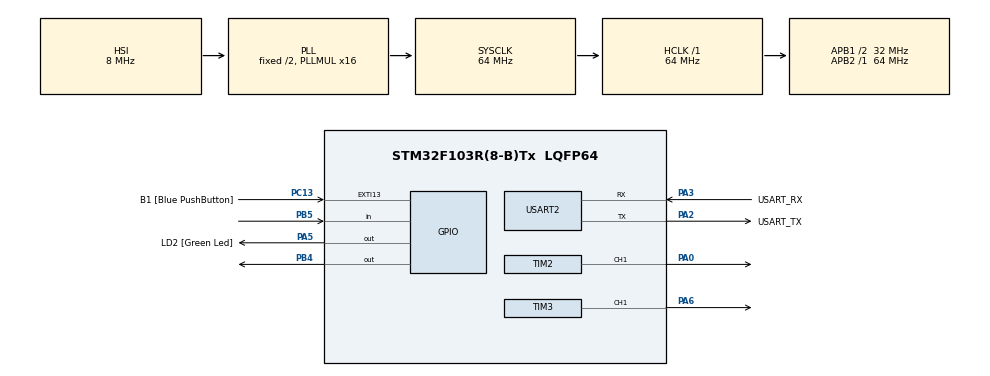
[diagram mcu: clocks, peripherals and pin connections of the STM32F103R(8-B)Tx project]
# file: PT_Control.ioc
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Mcu.Family=STM32F1
Mcu.Name=STM32F103R(8-B)Tx
Mcu.Package=LQFP64
NVIC.EXTI15_10_IRQn=true\:0\:0\:false\:false\:true\:true\:true\:true
NVIC.PriorityGroup=NVIC_PRIORITYGROUP_4
PA0-WKUP.Signal=S_TIM2_CH1_ETR
PA13.GPIO_Label=TMS
PA13.Mode=Serial_Wire
PA13.Signal=SYS_JTMS-SWDIO
PA14.GPIO_Label=TCK
PA14.Mode=Serial_Wire
PA14.Signal=SYS_JTCK-SWCLK
PA2.GPIO_Label=USART_TX
PA2.GPIO_Mode=GPIO_MODE_AF_PP
PA2.GPIO_PuPd=GPIO_NOPULL
PA2.GPIO_Speed=GPIO_SPEED_FREQ_LOW
PA2.Mode=Asynchronous
PA2.Signal=USART2_TX
PA3.GPIO_Label=USART_RX
PA3.GPIO_Mode=GPIO_MODE_AF_PP
PA3.GPIO_PuPd=GPIO_NOPULL
PA3.GPIO_Speed=GPIO_SPEED_FREQ_LOW
PA3.Mode=Asynchronous
PA3.Signal=USART2_RX
PA5.GPIO_Label=LD2 [Green Led]
PA5.GPIO_ModeDefaultOutputPP=GPIO_MODE_OUTPUT_PP
PA5.GPIO_PuPd=GPIO_NOPULL
PA5.GPIO_Speed=GPIO_SPEED_FREQ_LOW
PA5.Signal=GPIO_Output
PA6.Signal=S_TIM3_CH1
PB3.GPIO_Label=SWO
PB3.Signal=SYS_JTDO-TRACESWO
PB4.Signal=GPIO_Output
PB5.Signal=GPIO_Input
PC13-TAMPER-RTC.GPIO_Label=B1 [Blue PushButton]
PC13-TAMPER-RTC.GPIO_PuPd=GPIO_NOPULL
PC13-TAMPER-RTC.Signal=GPXTI13
PC14-OSC32_IN.Signal=RCC_OSC32_IN
PC15-OSC32_OUT.Signal=RCC_OSC32_OUT
PD0-OSC_IN.Signal=RCC_OSC_IN
PD1-OSC_OUT.Signal=RCC_OSC_OUT
ProjectManager.HeapSize=0x200
ProjectManager.StackSize=0x400
ProjectManager.TargetToolchain=STM32CubeIDE
RCC.AHBFreq_Value=64000000
RCC.APB1CLKDivider=RCC_HCLK_DIV2
RCC.APB1Freq_Value=32000000
RCC.APB1TimFreq_Value=64000000
RCC.APB2Freq_Value=64000000
RCC.APB2TimFreq_Value=64000000
RCC.HCLKFreq_Value=64000000
RCC.PLLMUL=RCC_PLL_MUL16
RCC.RTCClockSelection=RCC_RTCCLKSOURCE_LSE
RCC.SYSCLKFreq_VALUE=64000000
RCC.SYSCLKSource=RCC_SYSCLKSOURCE_PLLCLK
RCC.USBFreq_Value=64000000
SH.S_TIM2_CH1_ETR.0=TIM2_CH1,PWM Generation1 CH1
SH.S_TIM3_CH1.0=TIM3_CH1,PWM Generation1 CH1
TIM2.Channel-PWM\ Generation1\ CH1=TIM_CHANNEL_1
TIM2.Period=1000-1
TIM2.Prescaler=1280-1
TIM3.Channel-PWM\ Generation1\ CH1=TIM_CHANNEL_1
TIM3.Period=1000-1
TIM3.Prescaler=1280-1
USART2.VirtualMode=VM_ASYNC
VP_TIM2_VS_ClockSourceINT.Mode=Internal
VP_TIM3_VS_ClockSourceINT.Mode=Internal
board=NUCLEO-F103RB

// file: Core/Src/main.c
/* USER CODE BEGIN Header */
/**
  ******************************************************************************
  * @file           : main.c
  * @brief          : Main program body
  ******************************************************************************
  * @attention
  *
  * Copyright (c) 2026 STMicroelectronics.
  * All rights reserved.
  *
  * This software is licensed under terms that can be found in the LICENSE file
  * in the root directory of this software component.
  * If no LICENSE file comes with this software, it is provided AS-IS.
  *
  ******************************************************************************
  */
/* USER CODE END Header */
#include "main.h"

/* USER CODE BEGIN Includes */
#include "uart2_printf.h"
/* USER CODE END Includes */

/* USER CODE BEGIN PD */
#define MAX_POS  125
#define MIN_POS   25
#define POS_STEP   1
/* USER CODE END PD */

TIM_HandleTypeDef htim2;
TIM_HandleTypeDef htim3;

UART_HandleTypeDef huart2;

/* USER CODE BEGIN PV */
uint8_t ch;
uint8_t pos_pan = 75;
uint8_t pos_tilt = 75;
/* USER CODE END PV */

void SystemClock_Config(void);
static void MX_GPIO_Init(void);
static void MX_TIM2_Init(void);
static void MX_TIM3_Init(void);
static void MX_USART2_UART_Init(void);

int main(void)
{

  /* MCU Configuration--------------------------------------------------------*/

  /* Reset of all peripherals, Initializes the Flash interface and the Systick. */
  HAL_Init();

  /* Configure the system clock */
  SystemClock_Config();

  /* Initialize all configured peripherals */
  MX_GPIO_Init();
  MX_TIM2_Init();
  MX_TIM3_Init();
  MX_USART2_UART_Init();
  /* USER CODE BEGIN 2 */
  printf("P/T Control!\n");
  HAL_TIM_PWM_Start(&htim2,TIM_CHANNEL_1);
  HAL_TIM_PWM_Start(&htim3,TIM_CHANNEL_1);
  __HAL_TIM_SetCompare(&htim2, TIM_CHANNEL_1, pos_pan);
  __HAL_TIM_SetCompare(&htim3, TIM_CHANNEL_1, pos_tilt);
  /* USER CODE END 2 */

  /* Infinite loop */
  /* USER CODE BEGIN WHILE */
  while (1)
  {
	  if (HAL_UART_Receive(&huart2, &ch, 1, 10) == HAL_OK)
	  {
		  if(ch == 'w')
		  {
			  if(pos_tilt - POS_STEP >= MIN_POS)
			  {
				  pos_tilt = pos_tilt - POS_STEP;
			  }
			  else
			  {
				  pos_tilt = MIN_POS;
			  }
		  }
		  else if(ch == 's')
		  {
			  if(pos_tilt + POS_STEP <= MAX_POS)
			  {
				  pos_tilt =  pos_tilt + POS_STEP;
			  }
			  else
			  {
				  pos_tilt = MAX_POS;
			  }
		  }
		  else if(ch == 'a')
		  {
			  if(pos_pan + POS_STEP <= MAX_POS)
			  {
				  pos_pan = pos_pan + POS_STEP;
			  }
			  else
			  {
				  pos_pan = MAX_POS;
			  }
		  }
		  else if(ch == 'd')
		  {
			  if(pos_pan - POS_STEP >= MIN_POS)
			  {
				  pos_pan = pos_pan - POS_STEP;
			  }
			  else
			  {
				  pos_pan = MIN_POS;
			  }
		  }

		  else if(ch == 'i')
		  {
			  pos_pan = 75;
			  pos_tilt = 75;
		  }
	  else
	  {
		  continue;
	  }
	  __HAL_TIM_SetCompare(&htim2, TIM_CHANNEL_1, pos_pan);
	  HAL_Delay(10);
	  __HAL_TIM_SetCompare(&htim3, TIM_CHANNEL_1, pos_tilt);
	  HAL_Delay(10);
	  printf("pos_pan = %d, pos_tilt = %d.\n", pos_pan, pos_tilt);
	  }

    /* USER CODE END WHILE */

  }
}

void SystemClock_Config(void)
{
  RCC_OscInitTypeDef RCC_OscInitStruct = {0};
  RCC_ClkInitTypeDef RCC_ClkInitStruct = {0};

  /** Initializes the RCC Oscillators according to the specified parameters
  * in the RCC_OscInitTypeDef structure.
  */
  RCC_OscInitStruct.OscillatorType = RCC_OSCILLATORTYPE_HSI;
  RCC_OscInitStruct.HSIState = RCC_HSI_ON;
  RCC_OscInitStruct.HSICalibrationValue = RCC_HSICALIBRATION_DEFAULT;
  RCC_OscInitStruct.PLL.PLLState = RCC_PLL_ON;
  RCC_OscInitStruct.PLL.PLLSource = RCC_PLLSOURCE_HSI_DIV2;
  RCC_OscInitStruct.PLL.PLLMUL = RCC_PLL_MUL16;
  if (HAL_RCC_OscConfig(&RCC_OscInitStruct) != HAL_OK)
  {
    Error_Handler();
  }

  /** Initializes the CPU, AHB and APB buses clocks
  */
  RCC_ClkInitStruct.ClockType = RCC_CLOCKTYPE_HCLK|RCC_CLOCKTYPE_SYSCLK
                              |RCC_CLOCKTYPE_PCLK1|RCC_CLOCKTYPE_PCLK2;
  RCC_ClkInitStruct.SYSCLKSource = RCC_SYSCLKSOURCE_PLLCLK;
  RCC_ClkInitStruct.AHBCLKDivider = RCC_SYSCLK_DIV1;
  RCC_ClkInitStruct.APB1CLKDivider = RCC_HCLK_DIV2;
  RCC_ClkInitStruct.APB2CLKDivider = RCC_HCLK_DIV1;

  if (HAL_RCC_ClockConfig(&RCC_ClkInitStruct, FLASH_LATENCY_2) != HAL_OK)
  {
    Error_Handler();
  }
}

static void MX_TIM2_Init(void)
{

  TIM_ClockConfigTypeDef sClockSourceConfig = {0};
  TIM_MasterConfigTypeDef sMasterConfig = {0};
  TIM_OC_InitTypeDef sConfigOC = {0};

  htim2.Instance = TIM2;
  htim2.Init.Prescaler = 1280-1;
  htim2.Init.CounterMode = TIM_COUNTERMODE_UP;
  htim2.Init.Period = 1000-1;
  htim2.Init.ClockDivision = TIM_CLOCKDIVISION_DIV1;
  htim2.Init.AutoReloadPreload = TIM_AUTORELOAD_PRELOAD_DISABLE;
  if (HAL_TIM_Base_Init(&htim2) != HAL_OK)
  {
    Error_Handler();
  }
  sClockSourceConfig.ClockSource = TIM_CLOCKSOURCE_INTERNAL;
  if (HAL_TIM_ConfigClockSource(&htim2, &sClockSourceConfig) != HAL_OK)
  {
    Error_Handler();
  }
  if (HAL_TIM_PWM_Init(&htim2) != HAL_OK)
  {
    Error_Handler();
  }
  sMasterConfig.MasterOutputTrigger = TIM_TRGO_RESET;
  sMasterConfig.MasterSlaveMode = TIM_MASTERSLAVEMODE_DISABLE;
  if (HAL_TIMEx_MasterConfigSynchronization(&htim2, &sMasterConfig) != HAL_OK)
  {
    Error_Handler();
  }
  sConfigOC.OCMode = TIM_OCMODE_PWM1;
  sConfigOC.Pulse = 0;
  sConfigOC.OCPolarity = TIM_OCPOLARITY_HIGH;
  sConfigOC.OCFastMode = TIM_OCFAST_DISABLE;
  if (HAL_TIM_PWM_ConfigChannel(&htim2, &sConfigOC, TIM_CHANNEL_1) != HAL_OK)
  {
    Error_Handler();
  }
  HAL_TIM_MspPostInit(&htim2);

}

static void MX_TIM3_Init(void)
{

  TIM_ClockConfigTypeDef sClockSourceConfig = {0};
  TIM_MasterConfigTypeDef sMasterConfig = {0};
  TIM_OC_InitTypeDef sConfigOC = {0};

  htim3.Instance = TIM3;
  htim3.Init.Prescaler = 1280-1;
  htim3.Init.CounterMode = TIM_COUNTERMODE_UP;
  htim3.Init.Period = 1000-1;
  htim3.Init.ClockDivision = TIM_CLOCKDIVISION_DIV1;
  htim3.Init.AutoReloadPreload = TIM_AUTORELOAD_PRELOAD_DISABLE;
  if (HAL_TIM_Base_Init(&htim3) != HAL_OK)
  {
    Error_Handler();
  }
  sClockSourceConfig.ClockSource = TIM_CLOCKSOURCE_INTERNAL;
  if (HAL_TIM_ConfigClockSource(&htim3, &sClockSourceConfig) != HAL_OK)
  {
    Error_Handler();
  }
  if (HAL_TIM_PWM_Init(&htim3) != HAL_OK)
  {
    Error_Handler();
  }
  sMasterConfig.MasterOutputTrigger = TIM_TRGO_RESET;
  sMasterConfig.MasterSlaveMode = TIM_MASTERSLAVEMODE_DISABLE;
  if (HAL_TIMEx_MasterConfigSynchronization(&htim3, &sMasterConfig) != HAL_OK)
  {
    Error_Handler();
  }
  sConfigOC.OCMode = TIM_OCMODE_PWM1;
  sConfigOC.Pulse = 0;
  sConfigOC.OCPolarity = TIM_OCPOLARITY_HIGH;
  sConfigOC.OCFastMode = TIM_OCFAST_DISABLE;
  if (HAL_TIM_PWM_ConfigChannel(&htim3, &sConfigOC, TIM_CHANNEL_1) != HAL_OK)
  {
    Error_Handler();
  }
  HAL_TIM_MspPostInit(&htim3);

}

static void MX_USART2_UART_Init(void)
{

  huart2.Instance = USART2;
  huart2.Init.BaudRate = 115200;
  huart2.Init.WordLength = UART_WORDLENGTH_8B;
  huart2.Init.StopBits = UART_STOPBITS_1;
  huart2.Init.Parity = UART_PARITY_NONE;
  huart2.Init.Mode = UART_MODE_TX_RX;
  huart2.Init.HwFlowCtl = UART_HWCONTROL_NONE;
  huart2.Init.OverSampling = UART_OVERSAMPLING_16;
  if (HAL_UART_Init(&huart2) != HAL_OK)
  {
    Error_Handler();
  }

}

static void MX_GPIO_Init(void)
{
  GPIO_InitTypeDef GPIO_InitStruct = {0};

  /* GPIO Ports Clock Enable */
  __HAL_RCC_GPIOC_CLK_ENABLE();
  __HAL_RCC_GPIOD_CLK_ENABLE();
  __HAL_RCC_GPIOA_CLK_ENABLE();
  __HAL_RCC_GPIOB_CLK_ENABLE();

  /*Configure GPIO pin Output Level */
  HAL_GPIO_WritePin(LD2_GPIO_Port, LD2_Pin, GPIO_PIN_RESET);

  /*Configure GPIO pin Output Level */
  HAL_GPIO_WritePin(GPIOB, GPIO_PIN_4, GPIO_PIN_RESET);

  /*Configure GPIO pin : B1_Pin */
  GPIO_InitStruct.Pin = B1_Pin;
  GPIO_InitStruct.Mode = GPIO_MODE_IT_RISING;
  GPIO_InitStruct.Pull = GPIO_NOPULL;
  HAL_GPIO_Init(B1_GPIO_Port, &GPIO_InitStruct);

  /*Configure GPIO pin : LD2_Pin */
  GPIO_InitStruct.Pin = LD2_Pin;
  GPIO_InitStruct.Mode = GPIO_MODE_OUTPUT_PP;
  GPIO_InitStruct.Pull = GPIO_NOPULL;
  GPIO_InitStruct.Speed = GPIO_SPEED_FREQ_LOW;
  HAL_GPIO_Init(LD2_GPIO_Port, &GPIO_InitStruct);

  /*Configure GPIO pin : PB4 */
  GPIO_InitStruct.Pin = GPIO_PIN_4;
  GPIO_InitStruct.Mode = GPIO_MODE_OUTPUT_PP;
  GPIO_InitStruct.Pull = GPIO_NOPULL;
  GPIO_InitStruct.Speed = GPIO_SPEED_FREQ_LOW;
  HAL_GPIO_Init(GPIOB, &GPIO_InitStruct);

  /*Configure GPIO pin : PB5 */
  GPIO_InitStruct.Pin = GPIO_PIN_5;
  GPIO_InitStruct.Mode = GPIO_MODE_INPUT;
  GPIO_InitStruct.Pull = GPIO_NOPULL;
  HAL_GPIO_Init(GPIOB, &GPIO_InitStruct);

  /* EXTI interrupt init*/
  HAL_NVIC_SetPriority(EXTI15_10_IRQn, 0, 0);
  HAL_NVIC_EnableIRQ(EXTI15_10_IRQn);

}

void Error_Handler(void)
{
  __disable_irq();
  while (1)
  {
  }
}
